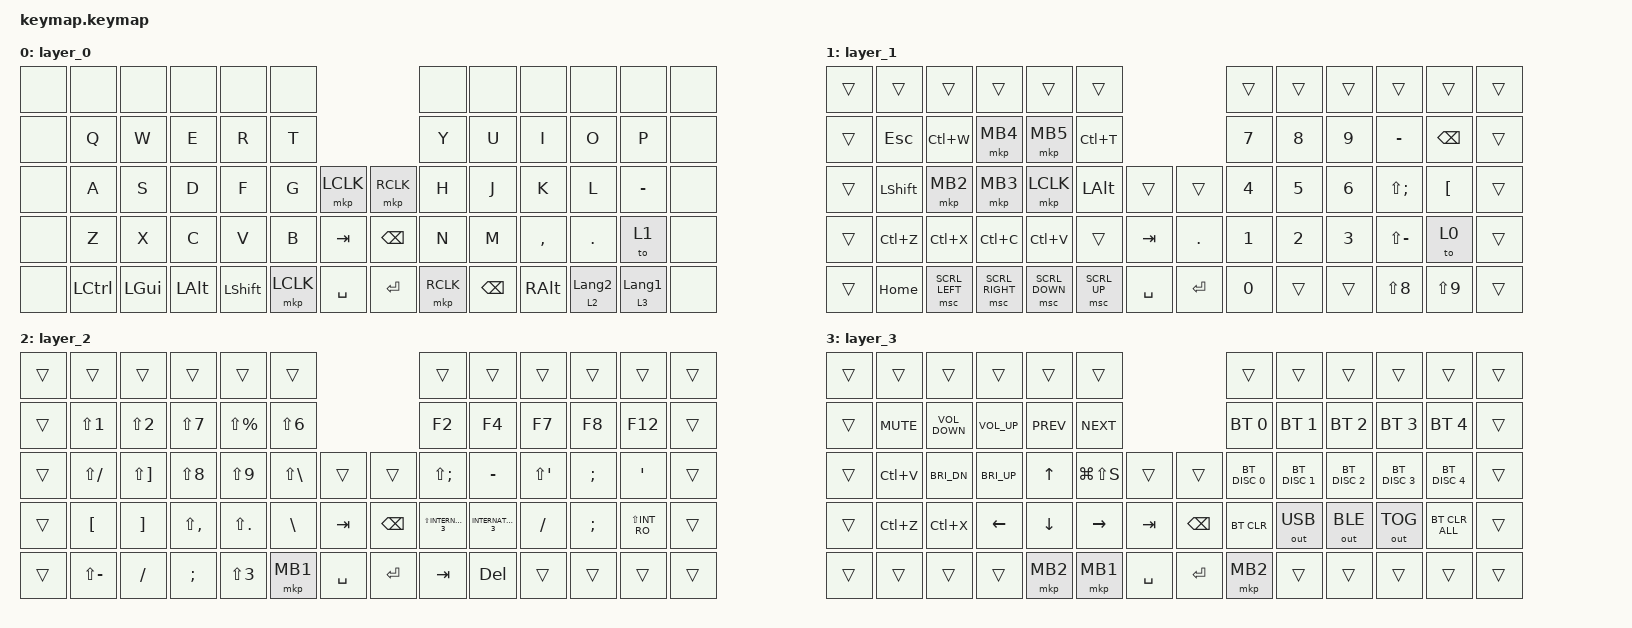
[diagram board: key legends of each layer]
#include <behaviors.dtsi>
#include <dt-bindings/zmk/bt.h>
#include <dt-bindings/zmk/keys.h>
#include <dt-bindings/zmk/outputs.h>
#include <dt-bindings/zmk/pointing.h>

/ {
    combos {
        compatible = "zmk,combos";

        bt_clear {
            bindings = <&bt BT_CLR>;
            key-positions = <28 29>;
            layers = <2>;
        };
    };

    keymap {
        compatible = "zmk,keymap";

        layer_0 {
            bindings = <
&none  &none      &none     &none     &none      &none                                &none      &none     &none      &none             &none             &none
&none  &kp Q      &kp W     &kp E     &kp R      &kp T                                &kp Y      &kp U     &kp I      &kp O             &kp P             &none
&none  &kp A      &kp S     &kp D     &kp F      &kp G      &mkp LCLK  &mkp RCLK      &kp H      &kp J     &kp K      &kp L             &kp MINUS         &none
&none  &kp Z      &kp X     &kp C     &kp V      &kp B      &kp TAB    &kp BACKSPACE  &kp N      &kp M     &kp COMMA  &kp DOT           &to 1             &none
&none  &kp LCTRL  &kp LGUI  &kp LALT  &kp LSHFT  &mkp LCLK  &kp SPACE  &kp ENTER      &mkp RCLK  &kp BSPC  &kp RALT   &lt 2 LANGUAGE_2  &lt 3 LANGUAGE_1  &none
            >;
        };

        layer_1 {
            bindings = <
&trans  &trans      &trans          &trans           &trans          &trans                               &trans        &trans        &trans        &trans             &trans            &trans
&trans  &kp ESCAPE  &kp LC(W)       &mkp MB4         &mkp MB5        &kp LC(T)                            &kp N7        &kp N8        &kp N9        &kp MINUS          &kp BACKSPACE     &trans
&trans  &kp LSHIFT  &mkp MB2        &mkp MB3         &mkp LCLK       &kp LEFT_ALT  &trans     &trans      &kp NUMBER_4  &kp N5        &kp NUMBER_6  &kp LS(SEMICOLON)  &kp LEFT_BRACKET  &trans
&trans  &kp LC(Z)   &kp LC(X)       &kp LC(C)        &kp LC(V)       &trans        &kp TAB    &kp PERIOD  &kp NUMBER_1  &kp NUMBER_2  &kp NUMBER_3  &kp LS(MINUS)      &to 0             &trans
&trans  &kp HOME    &msc SCRL_LEFT  &msc SCRL_RIGHT  &msc SCRL_DOWN  &msc SCRL_UP  &kp SPACE  &kp ENTER   &kp N0        &trans        &trans        &kp LS(N8)         &kp LS(N9)        &trans
            >;
        };

        layer_2 {
            bindings = <
&trans  &trans            &trans                 &trans         &trans            &trans                                       &trans                   &trans               &trans       &trans         &trans          &trans
&trans  &kp LS(NUMBER_1)  &kp LS(NUMBER_2)       &kp LS(N7)     &kp LS(PERCENT)   &kp LS(NUMBER_6)                             &kp F2                   &kp F4               &kp F7       &kp F8         &kp F12         &trans
&trans  &kp LS(SLASH)     &kp LS(RIGHT_BRACKET)  &kp LS(N8)     &kp LS(N9)        &kp LS(BACKSLASH)  &trans     &trans         &kp LS(SEMICOLON)        &kp MINUS            &kp LS(SQT)  &kp SEMICOLON  &kp SQT         &trans
&trans  &kp LEFT_BRACKET  &kp RIGHT_BRACKET      &kp LS(COMMA)  &kp LS(PERIOD)    &kp BACKSLASH      &kp TAB    &kp BACKSPACE  &kp LS(INTERNATIONAL_3)  &kp INTERNATIONAL_3  &kp SLASH    &kp SEMICOLON  &kp LS(INT_RO)  &trans
&trans  &kp LS(MINUS)     &kp SLASH              &kp SEMICOLON  &kp LS(NUMBER_3)  &mkp MB1           &kp SPACE  &kp ENTER      &kp TAB                  &kp DEL              &trans       &trans         &trans          &trans
            >;
        };

        layer_3 {
            bindings = <
&trans  &trans      &trans             &trans        &trans      &trans                                   &trans         &trans         &trans         &trans         &trans          &trans
&trans  &kp C_MUTE  &kp C_VOLUME_DOWN  &kp C_VOL_UP  &kp C_PREV  &kp C_NEXT                               &bt BT_SEL 0   &bt BT_SEL 1   &bt BT_SEL 2   &bt BT_SEL 3   &bt BT_SEL 4    &trans
&trans  &kp LC(V)   &kp C_BRI_DN       &kp C_BRI_UP  &kp UP      &kp LG(LS(S))  &trans     &trans         &bt BT_DISC 0  &bt BT_DISC 1  &bt BT_DISC 2  &bt BT_DISC 3  &bt BT_DISC 4   &trans
&trans  &kp LC(Z)   &kp LC(X)          &kp LEFT      &kp DOWN    &kp RIGHT      &kp TAB    &kp BACKSPACE  &bt BT_CLR     &out OUT_USB   &out OUT_BLE   &out OUT_TOG   &bt BT_CLR_ALL  &trans
&trans  &trans      &trans             &trans        &mkp MB2    &mkp MB1       &kp SPACE  &kp ENTER      &mkp MB2       &trans         &trans         &trans         &trans          &trans
            >;
        };
    };
};
